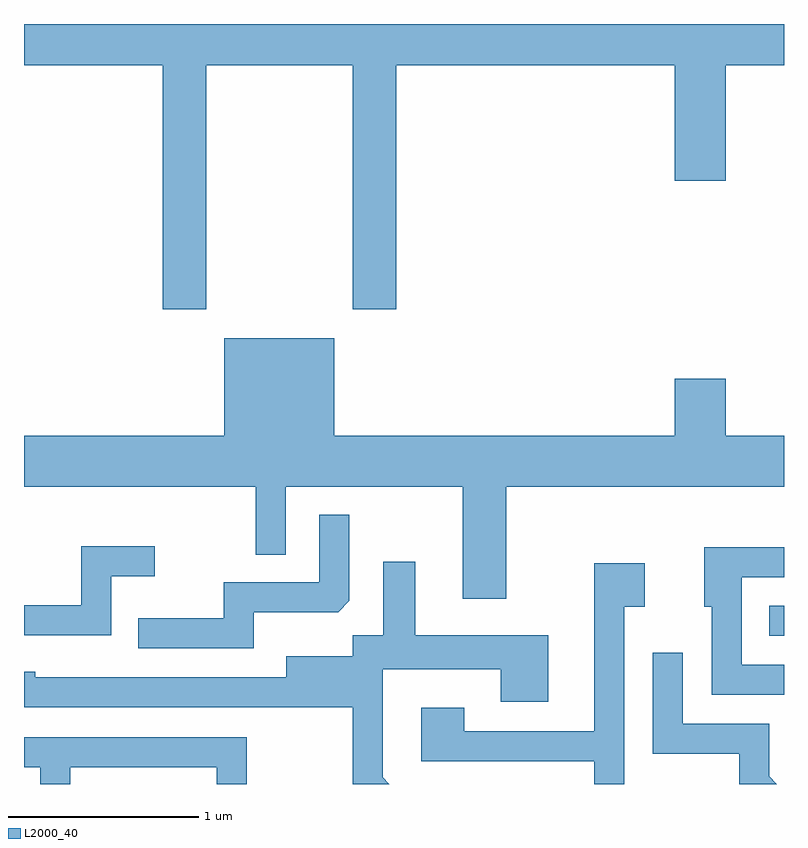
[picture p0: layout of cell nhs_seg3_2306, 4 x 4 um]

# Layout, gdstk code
import gdstk
lib = gdstk.Library(unit=1e-6, precision=1e-09)
def R(c, l, rs):  # rectangles x0, y0, x1, y1
    for r in rs: c.add(gdstk.rectangle(r[:2], r[2:], *l))
def P(c, l, *ps):  # polygons
    for p in ps: c.add(gdstk.Polygon(p, *l))
L2000_40 = (2000, 40)

nhs_seg3_2306 = lib.new_cell('nhs_seg3_2306')
R(nhs_seg3_2306, L2000_40, [(255.533,1240.671,255.611,1240.829)])
P(nhs_seg3_2306, L2000_40, [(253.341,1242.391),(253.569,1242.391),(253.569,1243.676),(255.036,1243.676),(255.036,1243.066),(255.304,1243.066),(255.304,1243.676),(255.611,1243.676),(255.611,1243.892),(251.611,1243.892),(251.611,1243.676),(252.341,1243.676),(252.341,1242.391),(252.569,1242.391),(252.569,1243.676),(253.341,1243.676)],
  [(254.149,1241.456),(255.611,1241.456),(255.611,1241.724),(255.304,1241.724),(255.304,1242.024),(255.036,1242.024),(255.036,1241.724),(253.244,1241.724),(253.244,1242.239),(252.666,1242.239),(252.666,1241.724),(251.611,1241.724),(251.611,1241.456),(252.831,1241.456),(252.831,1241.098),(252.989,1241.098),(252.989,1241.456),(253.921,1241.456),(253.921,1240.866),(254.149,1240.866)],
  [(252.819,1240.796),(253.264,1240.796),(253.324,1240.857),(253.324,1241.308),(253.166,1241.308),(253.166,1240.954),(252.661,1240.954),(252.661,1240.764),(252.213,1240.764),(252.213,1240.606),(252.819,1240.606)],
  [(252.069,1240.986),(252.298,1240.986),(252.298,1241.144),(251.911,1241.144),(251.911,1240.834),(251.611,1240.834),(251.611,1240.676),(252.069,1240.676)],
  [(255.611,1240.519),(255.389,1240.519),(255.389,1240.981),(255.611,1240.981),(255.611,1241.139),(255.191,1241.139),(255.191,1240.826),(255.231,1240.826),(255.231,1240.361),(255.611,1240.361)],
  [(253.499,1239.927),(253.499,1240.496),(254.121,1240.496),(254.121,1240.326),(254.369,1240.326),(254.369,1240.674),(253.669,1240.674),(253.669,1241.063),(253.501,1241.063),(253.501,1240.674),(253.341,1240.674),(253.341,1240.564),(252.991,1240.564),(252.991,1240.454),(251.669,1240.454),(251.669,1240.484),(251.611,1240.484),(251.611,1240.296),(253.341,1240.296),(253.341,1239.892),(253.534,1239.892)],
  [(254.769,1240.826),(254.879,1240.826),(254.879,1241.054),(254.611,1241.054),(254.611,1240.169),(253.929,1240.169),(253.929,1240.294),(253.701,1240.294),(253.701,1240.011),(254.611,1240.011),(254.611,1239.892),(254.769,1239.892)],
  [(255.534,1239.932),(255.534,1240.209),(255.079,1240.209),(255.079,1240.583),(254.921,1240.583),(254.921,1240.051),(255.376,1240.051),(255.376,1239.892),(255.574,1239.892)],
  [(251.854,1239.981),(252.626,1239.981),(252.626,1239.892),(252.784,1239.892),(252.784,1240.139),(251.611,1240.139),(251.611,1239.981),(251.696,1239.981),(251.696,1239.892),(251.854,1239.892)])

lib.write_gds('nhs_seg3_2306.gds')
